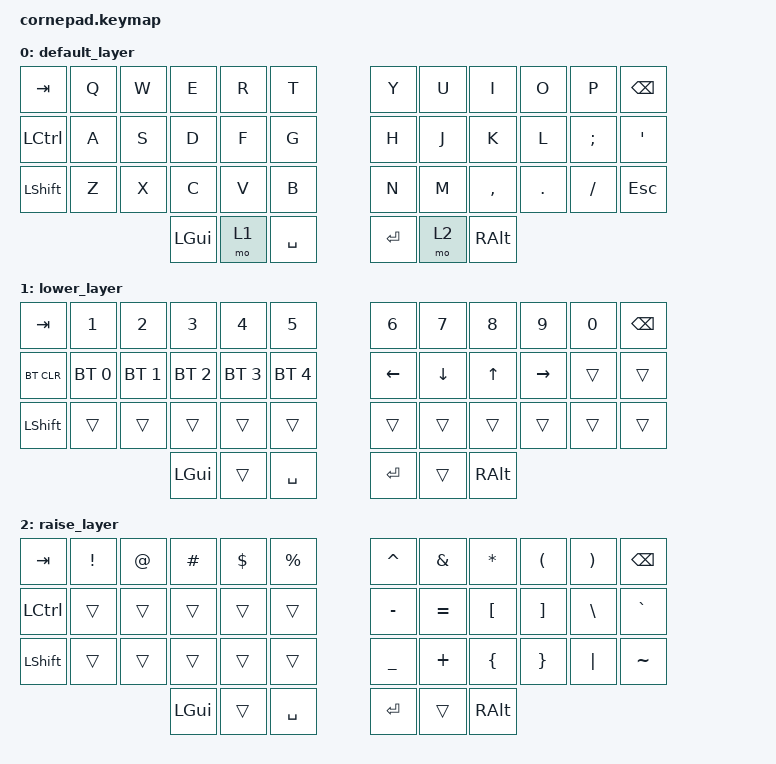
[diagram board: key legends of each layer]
/*
 * Copyright (c) 2020 The ZMK Contributors
 *
 * SPDX-License-Identifier: MIT
 */

#include <behaviors.dtsi>
#include <dt-bindings/zmk/keys.h>
#include <dt-bindings/zmk/bt.h>

#include <dt-bindings/zmk/outputs.h>
#include <zephyr/dt-bindings/input/input-event-codes.h>
#include <input/processors.dtsi>
#include <dt-bindings/zmk/input_transform.h>
#include <dt-bindings/zmk/ext_power.h>
#include <dt-bindings/zmk/pointing.h>

/*&pointer_accel {
    input-type = <INPUT_EV_REL>;  // For relative input devices
    track-remainders;             // Accumulate fractional movements
    min-factor = <800>;          // 0.8x at very slow speeds
    max-factor = <3000>;         // 3.0x at fast speeds
    speed-threshold = <1200>;     // 1200 counts/sec for 1x
    speed-max = <6000>;          // 6000 counts/sec for max accel
    acceleration-exponent = <2>;  // Quadratic acceleration curve
};*/

/ {
    glidepoint_listener: glidepoint_listener {
        compatible = "zmk,input-listener";
        status = "disabled";
    };
};

/ {
        keymap {
                compatible = "zmk,keymap";

                default_layer {
// -----------------------------------------------------------------------------------------
// |  TAB |  Q  |  W  |  E  |  R  |  T  |   |  Y  |  U   |  I  |  O  |  P  | BSPC |
// | CTRL |  A  |  S  |  D  |  F  |  G  |   |  H  |  J   |  K  |  L  |  ;  |  '   |
// | SHFT |  Z  |  X  |  C  |  V  |  B  |   |  N  |  M   |  ,  |  .  |  /  | ESC  |
//                    | GUI | LWR | SPC |   | ENT | RSE  | ALT |
                        bindings = <
   &kp TAB   &kp Q &kp W &kp E &kp R &kp T   &kp Y &kp U  &kp I     &kp O   &kp P    &kp BSPC
   &kp LCTRL &kp A &kp S &kp D &kp F &kp G   &kp H &kp J  &kp K     &kp L   &kp SEMI &kp SQT
   &kp LSHFT &kp Z &kp X &kp C &kp V &kp B   &kp N &kp M  &kp COMMA &kp DOT &kp FSLH &kp ESC
                  &kp LGUI &mo 1 &kp SPACE   &kp RET &mo 2 &kp RALT
                        >;
                };
                lower_layer {
// -----------------------------------------------------------------------------------------
// |  TAB |  1  |  2  |  3  |  4  |  5  |   |  6  |  7  |  8  |  9  |  0  | BSPC |
// | BTCLR| BT1 | BT2 | BT3 | BT4 | BT5 |   | LFT | DWN |  UP | RGT |     |      |
// | SHFT |     |     |     |     |     |   |     |     |     |     |     |      |
//                    | GUI |     | SPC |   | ENT |     | ALT |
                        bindings = <
   &kp TAB    &kp N1       &kp N2       &kp N3       &kp N4       &kp N5         &kp N6   &kp N7   &kp N8 &kp N9    &kp N0 &kp BSPC
   &bt BT_CLR &bt BT_SEL 0 &bt BT_SEL 1 &bt BT_SEL 2 &bt BT_SEL 3 &bt BT_SEL 4   &kp LEFT &kp DOWN &kp UP &kp RIGHT &trans &trans
   &kp LSHFT  &trans       &trans       &trans       &trans       &trans         &trans   &trans   &trans &trans    &trans &trans
                                    &kp LGUI     &trans       &kp SPACE      &kp RET  &trans   &kp RALT
                        >;
                };

                raise_layer {
// -----------------------------------------------------------------------------------------
// |  TAB |  !  |  @  |  #  |  $  |  %  |   |  ^  |  &  |  *  |  (  |  )  | BSPC |
// | CTRL |     |     |     |     |     |   |  -  |  =  |  [  |  ]  |  \  |  `   |
// | SHFT |     |     |     |     |     |   |  _  |  +  |  {  |  }  | "|" |  ~   |
//                    | GUI |     | SPC |   | ENT |     | ALT |
                        bindings = <
   &kp  TAB  &kp EXCL &kp AT &kp HASH &kp DLLR &kp PRCNT   &kp CARET &kp AMPS  &kp ASTRK &kp LPAR &kp RPAR &kp BSPC
   &kp LCTRL &trans   &trans &trans   &trans   &trans      &kp MINUS &kp EQUAL &kp LBKT  &kp RBKT &kp BSLH &kp GRAVE
   &kp LSHFT &trans   &trans &trans   &trans   &trans      &kp UNDER &kp PLUS  &kp LBRC  &kp RBRC &kp PIPE &kp TILDE
                             &kp LGUI &trans   &kp SPACE   &kp RET   &trans    &kp RALT
                        >;
                };
        };
};
